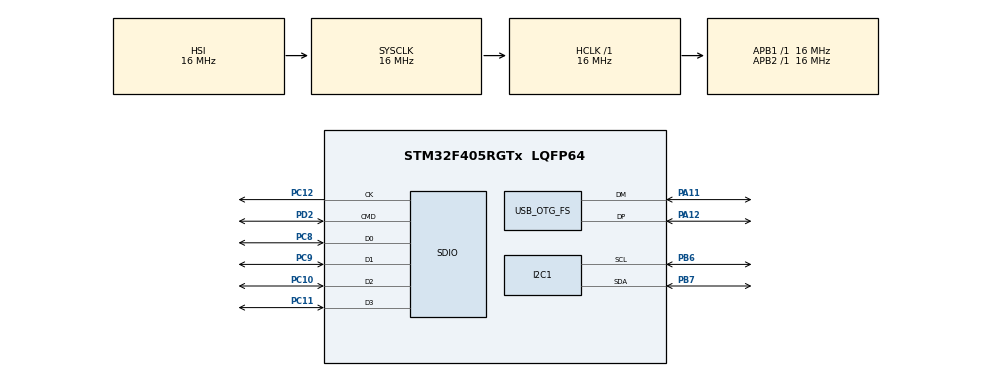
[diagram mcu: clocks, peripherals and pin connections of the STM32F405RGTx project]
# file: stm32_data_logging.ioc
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Mcu.Family=STM32F4
Mcu.Name=STM32F405RGTx
Mcu.Package=LQFP64
NVIC.OTG_FS_IRQn=true\:0\:0\:false\:false\:true\:false\:true\:true
NVIC.PriorityGroup=NVIC_PRIORITYGROUP_4
PA11.Mode=Device_Only
PA11.Signal=USB_OTG_FS_DM
PA12.Mode=Device_Only
PA12.Signal=USB_OTG_FS_DP
PB6.Mode=I2C
PB6.Signal=I2C1_SCL
PB7.Mode=I2C
PB7.Signal=I2C1_SDA
PC10.Mode=SD_4_bits_Wide_bus
PC10.Signal=SDIO_D2
PC11.Mode=SD_4_bits_Wide_bus
PC11.Signal=SDIO_D3
PC12.Mode=SD_4_bits_Wide_bus
PC12.Signal=SDIO_CK
PC14-OSC32_IN.Mode=LSE-External-Oscillator
PC14-OSC32_IN.Signal=RCC_OSC32_IN
PC15-OSC32_OUT.Mode=LSE-External-Oscillator
PC15-OSC32_OUT.Signal=RCC_OSC32_OUT
PC8.Mode=SD_4_bits_Wide_bus
PC8.Signal=SDIO_D0
PC9.Mode=SD_4_bits_Wide_bus
PC9.Signal=SDIO_D1
PD2.Mode=SD_4_bits_Wide_bus
PD2.Signal=SDIO_CMD
PH0-OSC_IN.Mode=HSE-External-Oscillator
PH0-OSC_IN.Signal=RCC_OSC_IN
PH1-OSC_OUT.Mode=HSE-External-Oscillator
PH1-OSC_OUT.Signal=RCC_OSC_OUT
ProjectManager.HeapSize=0x200
ProjectManager.StackSize=0x400
ProjectManager.TargetToolchain=CMake
RCC.48MHZClocksFreq_Value=48000000
RCC.AHBFreq_Value=16000000
RCC.APB1Freq_Value=16000000
RCC.APB2Freq_Value=16000000
RCC.CortexFreq_Value=16000000
RCC.HSE_VALUE=12000000
RCC.HSI_VALUE=16000000
RCC.PLLM=6
RCC.PLLN=72
RCC.PLLQ=3
RCC.SYSCLKFreq_VALUE=16000000
RCC.VCOOutputFreq_Value=144000000
USB_DEVICE.CLASS_NAME_FS=CDC
USB_DEVICE.VirtualMode-CDC_FS=Cdc
USB_DEVICE.VirtualModeFS=Cdc_FS
USB_OTG_FS.VirtualMode=Device_Only
VP_FATFS_VS_SDIO.Mode=SDIO
VP_USB_DEVICE_VS_USB_DEVICE_CDC_FS.Mode=CDC_FS
board=custom

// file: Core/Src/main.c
/* USER CODE BEGIN Header */
/**
  ******************************************************************************
  * @file           : main.c
  * @brief          : Main program body
  ******************************************************************************
  * @attention
  *
  * Copyright (c) 2025 STMicroelectronics.
  * All rights reserved.
  *
  * This software is licensed under terms that can be found in the LICENSE file
  * in the root directory of this software component.
  * If no LICENSE file comes with this software, it is provided AS-IS.
  *
  ******************************************************************************
  */
/* USER CODE END Header */
#include "main.h"
#include "fatfs.h"
#include "usb_device.h"

/* USER CODE BEGIN Includes */
#include "zedf9p.h"
#include "zedf9p_platform.h"
/* USER CODE END Includes */

/* USER CODE BEGIN PD */
#define LOG_FILENAME_PREFIX "GNSS"
#define LOG_FILENAME_EXTENSION ".ubx"
#define MAX_LOG_FILE_SIZE_MB 100
#define FLUSH_INTERVAL_MS 5000
#define RAW_BUFFER_SIZE 512
/* USER CODE END PD */

I2C_HandleTypeDef hi2c1;

SD_HandleTypeDef hsd;

/* USER CODE BEGIN PV */
uint8_t raw_buffer[RAW_BUFFER_SIZE];
char filename[32];
char debug_buffer[256];
zedf9p_t gnss_module;
/* USER CODE END PV */

void SystemClock_Config(void);
static void MX_GPIO_Init(void);
static void MX_I2C1_Init(void);
static void MX_SDIO_SD_Init(void);
/* USER CODE BEGIN PFP */
uint8_t init_sd_card(void);
uint8_t create_new_log_file(void);
void configure_gnss_for_logging(void);
void process_gnss_logging(void);
void print_statistics(void);
void debug_print(const char* message);
/* USER CODE END PFP */

/* USER CODE BEGIN 0 */
// Platform interface implementations for STM32Cube
int platform_i2c_write_cube(uint8_t dev_addr, const uint8_t *data, uint16_t len) {
  const HAL_StatusTypeDef status = HAL_I2C_Master_Transmit(&hi2c1, dev_addr << 1, (uint8_t*)data, len, 1000);
  return (status == HAL_OK) ? 0 : -1;
}

int platform_i2c_read_cube(uint8_t dev_addr, uint8_t *data, uint16_t len) {
  HAL_Delay(2); // Small delay before read
  const HAL_StatusTypeDef status = HAL_I2C_Master_Receive(&hi2c1, dev_addr << 1, data, len, 1000);
  if (status == HAL_OK) {
    return len;
  }
  return 0; // Return 0 bytes read on failure
}

void platform_delay_ms_cube(uint32_t ms) {
  HAL_Delay(ms);
}

uint32_t platform_get_millis_cube(void) {
  return HAL_GetTick();
}

void platform_debug_print_cube(const char *message) {
  (&huart2, (uint8_t*)message, strlen(message), 1000);
}

uint8_t init_sd_card(void) {
    debug_print("Initializing SD card via SDIO...\r\n");

    // Mount the SD card
    FRESULT result = f_mount(&SDFatFS, SDPath, 1);
    if (result != FR_OK) {
        sprintf(debug_buffer, "SD mount failed: %d\r\n", result);
        debug_print(debug_buffer);
        return 0;
    }

    // Get SD card info
    DWORD free_clusters;
    FATFS* fs;
    result = f_getfree(SDPath, &free_clusters, &fs);
    if (result == FR_OK) {
        const uint32_t total_sectors = (fs->n_fatent - 2) * fs->csize;
        const uint32_t free_sectors = free_clusters * fs->csize;

        sprintf(debug_buffer, "SD Card: %lu MB total, %lu MB free\r\n",
                total_sectors / 2048, free_sectors / 2048);
        debug_print(debug_buffer);
    }

    logging_stats.sd_card_present = 1;
    debug_print("SD card initialized successfully\r\n");
    return 1;
}

uint8_t create_new_log_file(void) {
    if (!logging_stats.sd_card_present) {
        return 0;
    }

    // Close existing file
    f_close(&dataFile);

    // Find next available filename
    FRESULT result;
    do {
        logging_stats.file_number++;
        sprintf(filename, "%s%03lu%s", LOG_FILENAME_PREFIX,
                logging_stats.file_number, LOG_FILENAME_EXTENSION);

        // Check if file exists
        result = f_stat(filename, NULL);
    } while (result == FR_OK); // Continue if file exists

    // Create new file
    result = f_open(&dataFile, filename, FA_CREATE_NEW | FA_WRITE);
    if (result != FR_OK) {
        sprintf(debug_buffer, "ERROR: Failed to create file %s: %d\r\n", filename, result);
        debug_print(debug_buffer);
        return 0;
    }

    sprintf(debug_buffer, "Created log file: %s\r\n", filename);
    debug_print(debug_buffer);

    return 1;
}

void configure_gnss_for_logging(void) {
    debug_print("Configuring GNSS for raw data logging...\r\n");

    // Set measurement rate
    zedf9p_set_measurement_rate(&gnss_module, UBLOX_CFG_LAYER_RAM, 1000, 1);

    // Configure GPS + Galileo
    zedf9p_gnss_config_t gnss_config = {
        .gps_enabled = 1,
        .gps_l1ca_enabled = 1,
        .gps_l2c_enabled = 1,
        .galileo_enabled = 1,
        .galileo_e1_enabled = 1,
        .galileo_e5b_enabled = 1,
        .glonass_enabled = 0,
        .glonass_l1_enabled = 0,
        .glonass_l2_enabled = 0,
        .beidou_enabled = 0,
        .beidou_b1_enabled = 0,
        .beidou_b2_enabled = 0,
        .qzss_enabled = 0,
        .qzss_l1ca_enabled = 0,
        .qzss_l1s_enabled = 0,
        .qzss_l2c_enabled = 0,
        .sbas_enabled = 0,
        .sbas_l1ca_enabled = 0
    };

    zedf9p_config_gnss_signals(&gnss_module, UBLOX_CFG_LAYER_RAM, &gnss_config);

    // Enable UBX messages
    zedf9p_set_message_rate(&gnss_module, UBX_CLASS_RXM, UBX_RXM_RAWX, 1);
    zedf9p_set_message_rate(&gnss_module, UBX_CLASS_NAV, UBX_NAV_HPPOSLLH, 1);
    zedf9p_set_message_rate(&gnss_module, UBX_CLASS_NAV, UBX_NAV_PVT, 1);

    HAL_Delay(2000);
    debug_print("GNSS configured for raw logging\r\n");
}

void process_gnss_logging(void) {
    if (!logging_stats.logging_active) {
        return;
    }

    // Read raw bytes from I2C
    int bytes_read = platform_i2c_read_cube(0x42, raw_buffer, sizeof(raw_buffer));

    if (bytes_read > 0) {
        // Write raw bytes to SD card using FatFS
        UINT bytes_written;
        FRESULT result = f_write(&dataFile, raw_buffer, bytes_read, &bytes_written);

        if (result == FR_OK && bytes_written == bytes_read) {
            logging_stats.bytes_logged += bytes_written;
        } else {
            logging_stats.write_errors++;
            sprintf(debug_buffer, "Write error: %d, wrote %u/%d\r\n", result, bytes_written, bytes_read);
            debug_print(debug_buffer);

            if (logging_stats.write_errors > 20) {
                logging_stats.logging_active = 0;
                debug_print("Too many write errors - stopping logging\r\n");
            }
        }

        // Periodic flush
        if (HAL_GetTick() - logging_stats.last_flush_ms > FLUSH_INTERVAL_MS) {
            f_sync(&dataFile);
            logging_stats.last_flush_ms = HAL_GetTick();
        }

        // Check file size limit
        if (f_size(&dataFile) > (MAX_LOG_FILE_SIZE_MB * 1024UL * 1024UL)) {
            f_close(&dataFile);
            if (!create_new_log_file()) {
                debug_print("ERROR: Failed to create new log file\r\n");
                logging_stats.logging_active = 0;
            }
        }
    }
}

/* USER CODE END 0 */

int main(void)
{

  /* MCU Configuration--------------------------------------------------------*/

  /* Reset of all peripherals, Initializes the Flash interface and the Systick. */
  HAL_Init();

  /* Configure the system clock */
  SystemClock_Config();

  /* Initialize all configured peripherals */
  MX_GPIO_Init();
  MX_I2C1_Init();
  MX_SDIO_SD_Init();
  MX_FATFS_Init();
  MX_USB_DEVICE_Init();

  /* Infinite loop */
  while (1)
  {

  }
}

void SystemClock_Config(void)
{
  RCC_OscInitTypeDef RCC_OscInitStruct = {0};
  RCC_ClkInitTypeDef RCC_ClkInitStruct = {0};

  /** Configure the main internal regulator output voltage
  */
  __HAL_RCC_PWR_CLK_ENABLE();
  __HAL_PWR_VOLTAGESCALING_CONFIG(PWR_REGULATOR_VOLTAGE_SCALE1);

  /** Initializes the RCC Oscillators according to the specified parameters
  * in the RCC_OscInitTypeDef structure.
  */
  RCC_OscInitStruct.OscillatorType = RCC_OSCILLATORTYPE_HSI|RCC_OSCILLATORTYPE_HSE;
  RCC_OscInitStruct.HSEState = RCC_HSE_ON;
  RCC_OscInitStruct.HSIState = RCC_HSI_ON;
  RCC_OscInitStruct.HSICalibrationValue = RCC_HSICALIBRATION_DEFAULT;
  RCC_OscInitStruct.PLL.PLLState = RCC_PLL_ON;
  RCC_OscInitStruct.PLL.PLLSource = RCC_PLLSOURCE_HSE;
  RCC_OscInitStruct.PLL.PLLM = 6;
  RCC_OscInitStruct.PLL.PLLN = 72;
  RCC_OscInitStruct.PLL.PLLP = RCC_PLLP_DIV2;
  RCC_OscInitStruct.PLL.PLLQ = 3;
  if (HAL_RCC_OscConfig(&RCC_OscInitStruct) != HAL_OK)
  {
    Error_Handler();
  }

  /** Initializes the CPU, AHB and APB buses clocks
  */
  RCC_ClkInitStruct.ClockType = RCC_CLOCKTYPE_HCLK|RCC_CLOCKTYPE_SYSCLK
                              |RCC_CLOCKTYPE_PCLK1|RCC_CLOCKTYPE_PCLK2;
  RCC_ClkInitStruct.SYSCLKSource = RCC_SYSCLKSOURCE_HSI;
  RCC_ClkInitStruct.AHBCLKDivider = RCC_SYSCLK_DIV1;
  RCC_ClkInitStruct.APB1CLKDivider = RCC_HCLK_DIV1;
  RCC_ClkInitStruct.APB2CLKDivider = RCC_HCLK_DIV1;

  if (HAL_RCC_ClockConfig(&RCC_ClkInitStruct, FLASH_LATENCY_0) != HAL_OK)
  {
    Error_Handler();
  }
}

static void MX_I2C1_Init(void)
{

  hi2c1.Instance = I2C1;
  hi2c1.Init.ClockSpeed = 100000;
  hi2c1.Init.DutyCycle = I2C_DUTYCYCLE_2;
  hi2c1.Init.OwnAddress1 = 0;
  hi2c1.Init.AddressingMode = I2C_ADDRESSINGMODE_7BIT;
  hi2c1.Init.DualAddressMode = I2C_DUALADDRESS_DISABLE;
  hi2c1.Init.OwnAddress2 = 0;
  hi2c1.Init.GeneralCallMode = I2C_GENERALCALL_DISABLE;
  hi2c1.Init.NoStretchMode = I2C_NOSTRETCH_DISABLE;
  if (HAL_I2C_Init(&hi2c1) != HAL_OK)
  {
    Error_Handler();
  }

}

static void MX_SDIO_SD_Init(void)
{

  hsd.Instance = SDIO;
  hsd.Init.ClockEdge = SDIO_CLOCK_EDGE_RISING;
  hsd.Init.ClockBypass = SDIO_CLOCK_BYPASS_DISABLE;
  hsd.Init.ClockPowerSave = SDIO_CLOCK_POWER_SAVE_DISABLE;
  hsd.Init.BusWide = SDIO_BUS_WIDE_1B;
  hsd.Init.HardwareFlowControl = SDIO_HARDWARE_FLOW_CONTROL_DISABLE;
  hsd.Init.ClockDiv = 0;

}

static void MX_GPIO_Init(void)
{

  /* GPIO Ports Clock Enable */
  __HAL_RCC_GPIOC_CLK_ENABLE();
  __HAL_RCC_GPIOH_CLK_ENABLE();
  __HAL_RCC_GPIOA_CLK_ENABLE();
  __HAL_RCC_GPIOD_CLK_ENABLE();
  __HAL_RCC_GPIOB_CLK_ENABLE();

}

void Error_Handler(void)
{
  __disable_irq();
  while (1)
  {
  }
}
